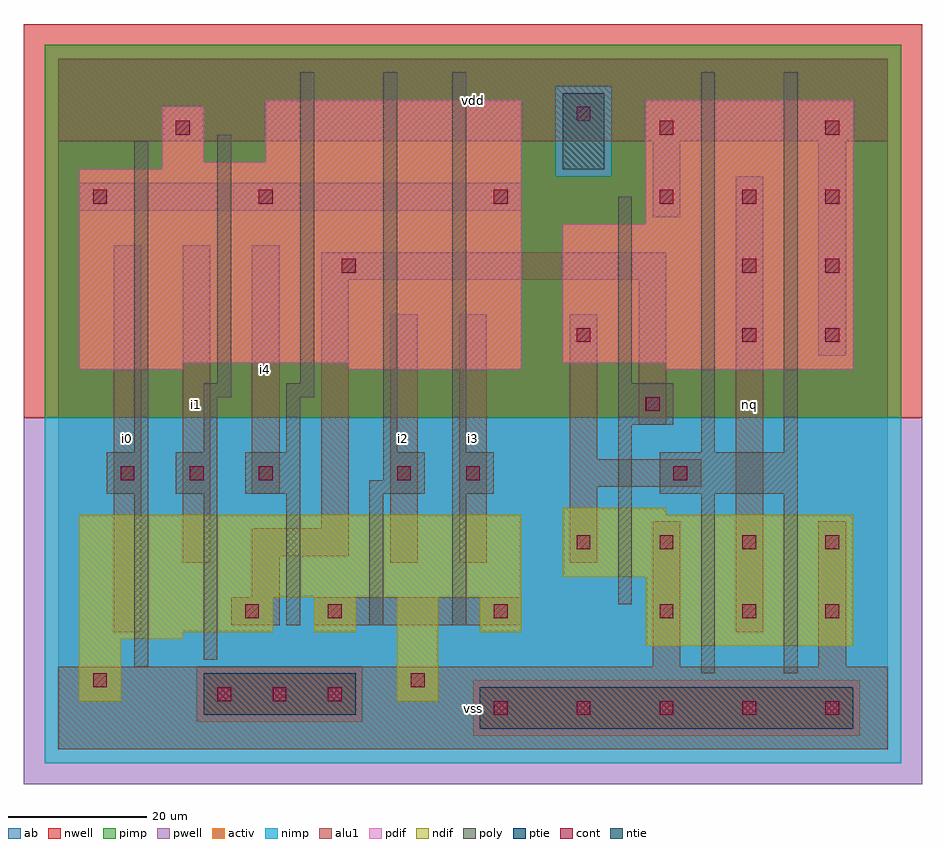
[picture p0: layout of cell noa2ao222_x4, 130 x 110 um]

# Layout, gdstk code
import gdstk
lib = gdstk.Library(unit=1e-6, precision=1e-09)
def R(c, l, rs):  # rectangles x0, y0, x1, y1
    for r in rs: c.add(gdstk.rectangle(r[:2], r[2:], *l))
def A(c, l, x, y, w, h, nx, ny, dx, dy):  # array of equal rectangles
    R(c, l, [(x+i*dx, y+j*dy, x+i*dx+w, y+j*dy+h) for i in range(nx) for j in range(ny)])
ndif = (3, 0)
pdif = (4, 0)
ntie = (5, 0)
ptie = (6, 0)
cont = (25, 0)
pwell = (41, 0)
nwell = (42, 0)
activ = (43, 0)
pimp = (44, 0)
nimp = (45, 0)
poly = (46, 0)
alu1 = (49, 0)
ab = (63, 0)

noa2ao222_x4 = lib.new_cell('noa2ao222_x4')
R(noa2ao222_x4, ndif, [(3,7,9,16), (49,7,55,22), (85,15,115,25), (3,16,18,17), (3,17,31,22), (37,17,43,22), (61,17,67,22), (3,22,67,34), (73,25,115,34), (73,34,88,35)])
R(noa2ao222_x4, pdif, [(3,55,18,56), (42,55,67,56), (88,55,115,56), (3,56,67,84), (73,56,115,76), (85,76,115,94), (15,84,67,85), (15,85,21,93), (30,85,67,94)])
R(noa2ao222_x4, ntie, [(73,84,79,95)])
R(noa2ao222_x4, ptie, [(61,3,115,9), (21,5,43,11)])
A(noa2ao222_x4, cont, 63, 5, 2, 2, 5, 1, 12, 0)
A(noa2ao222_x4, cont, 23, 7, 2, 2, 3, 1, 8, 0)
A(noa2ao222_x4, cont, 39, 19, 2, 2, 3, 1, 24, 0)
A(noa2ao222_x4, cont, 75, 29, 2, 2, 4, 1, 12, 0)
A(noa2ao222_x4, cont, 9, 39, 2, 2, 3, 1, 10, 0)
A(noa2ao222_x4, cont, 87, 79, 2, 2, 3, 1, 12, 0)
R(noa2ao222_x4, cont, [(5,9,7,11), (51,9,53,11), (27,19,29,21), (99,19,101,21), (111,19,113,21), (49,39,51,41), (59,39,61,41), (89,39,91,41), (85,49,87,51), (75,59,77,61), (99,59,101,61), (111,59,113,61), (41,69,43,71), (99,69,101,71), (111,69,113,71), (5,79,7,81), (29,79,31,81), (63,79,65,81), (17,89,19,91), (87,89,89,91), (111,89,113,91), (75,91,77,93)])
R(noa2ao222_x4, pwell, [(-5,-5,125,48)])
R(noa2ao222_x4, nwell, [(-5,48,125,105)])
R(noa2ao222_x4, activ, [(61,3,115,9), (21,5,43,11), (3,7,9,16), (49,7,55,22), (85,15,115,25), (3,16,18,17), (3,17,31,22), (37,17,43,22), (61,17,67,22), (3,22,67,34), (73,25,115,34), (73,34,88,35), (3,55,18,56), (42,55,67,56), (88,55,115,56), (3,56,67,84), (73,56,115,76), (85,76,115,94), (15,84,67,85), (73,84,79,95), (15,85,21,93), (30,85,67,94)])
R(noa2ao222_x4, pimp, [(60,2,116,10), (20,4,44,12), (-2,48,122,83), (-2,83,72,96), (80,83,122,96), (-2,96,122,102)])
R(noa2ao222_x4, nimp, [(-2,-2,122,2), (-2,2,60,4), (116,2,122,10), (-2,4,20,12), (44,4,60,10), (44,10,122,12), (-2,12,122,48), (72,83,80,96)])
A(noa2ao222_x4, poly, 33, 18, 2, 19, 3, 1, 12, 0)
R(noa2ao222_x4, poly, [(93,11,95,37), (105,11,107,37), (11,12,13,37), (21,13,23,37), (81,21,83,47), (7,37,13,43), (17,37,23,43), (27,37,35,43), (45,37,53,39), (57,37,63,43), (87,37,107,43), (47,39,53,43), (11,43,13,88), (21,43,23,51), (33,43,35,51), (47,43,49,98), (57,43,59,98), (93,43,95,98), (105,43,107,98), (81,47,89,53), (21,51,25,53), (33,51,37,53), (23,53,25,89), (35,53,37,98), (81,53,83,80)])
R(noa2ao222_x4, alu1, [(0,0,120,12), (86,12,90,33), (110,12,114,33), (8,17,12,73), (98,17,102,83), (25,18,32,22), (37,18,67,22), (28,22,32,28), (18,27,22,73), (48,27,52,63), (58,27,62,63), (74,27,78,38), (28,28,42,32), (38,32,42,68), (28,37,32,73), (74,38,93,42), (74,42,78,63), (84,47,88,68), (110,57,114,88), (38,68,88,72), (86,77,90,88), (3,78,67,82), (0,88,120,100)])
R(noa2ao222_x4, ab, [(0,0,120,100)])
noa2ao222_x4.add(gdstk.Label('i0', (10,45), layer=49, texttype=0))
noa2ao222_x4.add(gdstk.Label('i1', (20,50), layer=49, texttype=0))
noa2ao222_x4.add(gdstk.Label('i2', (50,45), layer=49, texttype=0))
noa2ao222_x4.add(gdstk.Label('i4', (30,55), layer=49, texttype=0))
noa2ao222_x4.add(gdstk.Label('vss', (60,6), layer=49, texttype=0))
noa2ao222_x4.add(gdstk.Label('i3', (60,45), layer=49, texttype=0))
noa2ao222_x4.add(gdstk.Label('vdd', (60,94), layer=49, texttype=0))
noa2ao222_x4.add(gdstk.Label('nq', (100,50), layer=49, texttype=0))

lib.write_gds('noa2ao222_x4.gds')
